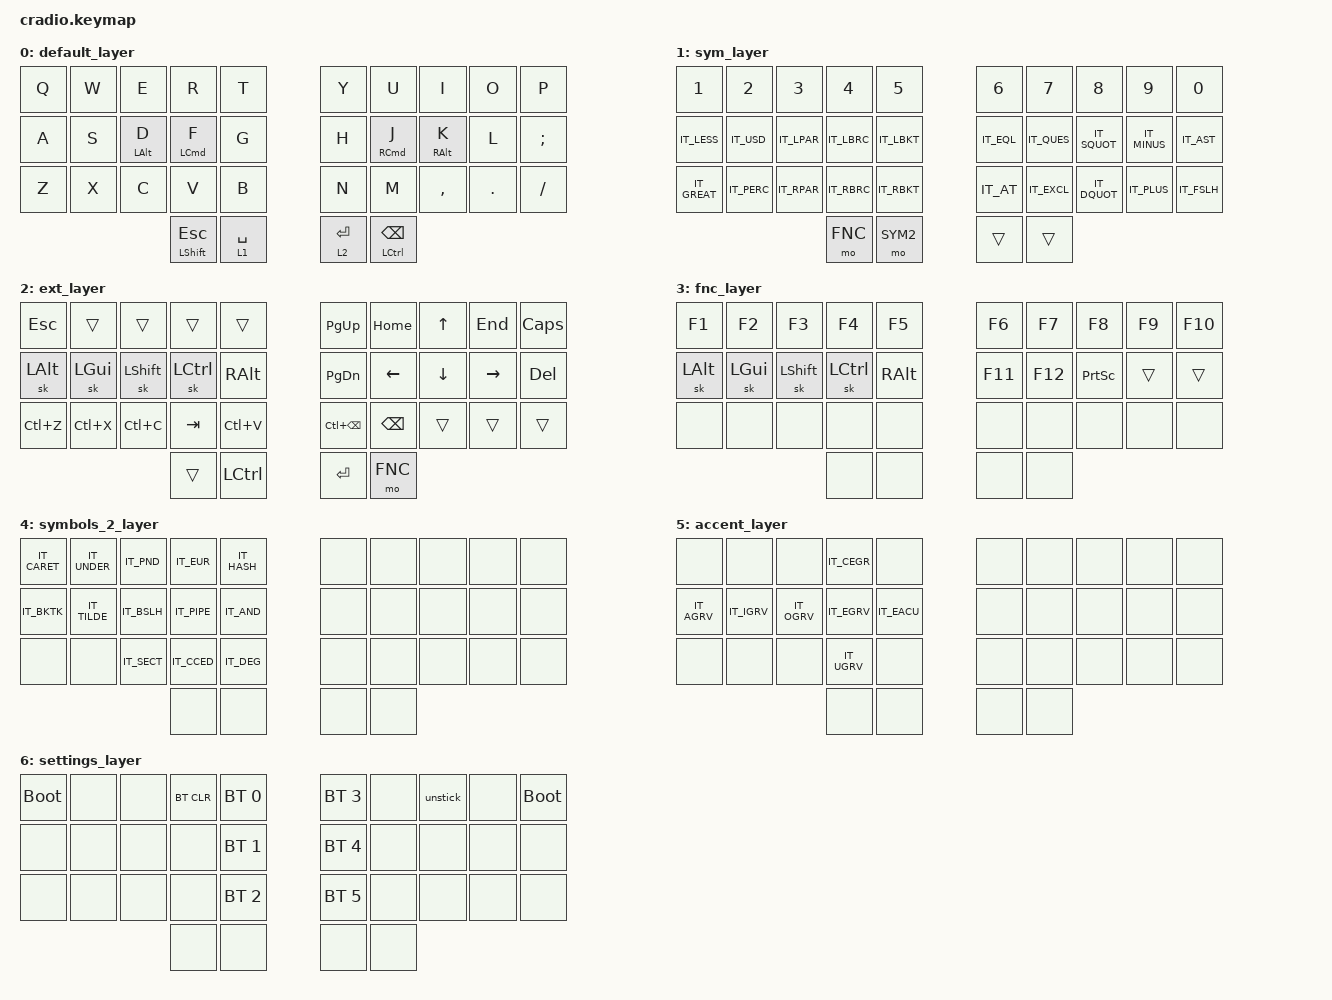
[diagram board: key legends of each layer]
/*
 * Copyright (c) 2020 The ZMK Contributors
 *
 * SPDX-License-Identifier: MIT
 */

#include "keymap_italian.h"
#include <behaviors.dtsi>
#include <dt-bindings/zmk/bt.h>
#include <dt-bindings/zmk/keys.h>

// Layer definitions

#define BASE 0
#define SYM 1
#define EXT 2
#define FNC 3
#define SYM2 4
#define ACCENT 5
#define SETTINGS 6

// -----------------

&mt {
    //  flavor = "tap-preferred";
    // tapping_term_ms = <200>;
};

&sk { ignore-modifiers; };

/ {
    macros {
        // sometimes my device thinks a modifier is being held down
        // pressing all modifiers fixes it.

        unstick: unstick {
            label = "ZM_unstick";
            compatible = "zmk,behavior-macro";
            #binding-cells = <0>;
            bindings = <&kp LSHIFT &kp RSHIFT &kp LCTRL &kp RCTRL &kp LALT &kp RALT &kp LGUI &kp RGUI>;
        };
    };

    combos {
        compatible = "zmk,combos";

        // both right thumb keys

        combo_accent {
            timeout-ms = <300>;
            key-positions = <32 33>;
            bindings = <&mo ACCENT>;
        };

        // internal-left & external-right thumb keys

        combo_sym2 {
            timeout-ms = <200>;
            key-positions = <31 33>;
            bindings = <&mo SYM2>;
        };

        // both left thumb keys

        combo_settings {
            timeout-ms = <300>;
            key-positions = <30 31>;
            bindings = <&mo SETTINGS>;
        };

        Esc {
            bindings = <&kp ESC>;
            key-positions = <0 1>;
        };
    };

    keymap {
        compatible = "zmk,keymap";

        // Base alpha layer

        default_layer {
            bindings = <
&kp Q  &kp W  &kp E           &kp R               &kp T          &kp Y         &kp U                &kp I            &kp O    &kp P
&kp A  &kp S  &mt LEFT_ALT D  &mt LEFT_COMMAND F  &kp G          &kp H         &mt RIGHT_COMMAND J  &mt RIGHT_ALT K  &kp L    &kp SEMI
&kp Z  &kp X  &kp C           &kp V               &kp B          &kp N         &kp M                &kp COMMA        &kp DOT  &kp SLASH
                              &mt LEFT_SHIFT ESC  &lt 1 SPACE    &lt 2 RETURN  &mt LCTRL BACKSPACE
            >;
        };

        // Numbers and high frequency symbols

        sym_layer {
            bindings = <
&kp N1        &kp N2       &kp N3       &kp N4       &kp N5         &kp N6      &kp N7       &kp N8        &kp N9        &kp N0
&kp IT_LESS   &kp IT_USD   &kp IT_LPAR  &kp IT_LBRC  &kp IT_LBKT    &kp IT_EQL  &kp IT_QUES  &kp IT_SQUOT  &kp IT_MINUS  &kp IT_AST
&kp IT_GREAT  &kp IT_PERC  &kp IT_RPAR  &kp IT_RBRC  &kp IT_RBKT    &kp IT_AT   &kp IT_EXCL  &kp IT_DQUOT  &kp IT_PLUS   &kp IT_FSLH
                                        &mo FNC      &mo SYM2       &trans      &trans
            >;
        };

        // Main modifiers and arrow keys

        ext_layer {
            bindings = <
&kp ESC    &trans     &trans      &trans     &trans       &kp PG_UP     &kp HOME  &kp UP    &kp END    &kp CAPS
&sk LALT   &sk LGUI   &sk LSHIFT  &sk LCTRL  &kp RALT     &kp PG_DN     &kp LEFT  &kp DOWN  &kp RIGHT  &kp DEL
&kp LC(Z)  &kp LC(X)  &kp LC(C)   &kp TAB    &kp LC(V)    &kp LC(BSPC)  &kp BSPC  &trans    &trans     &trans
                                  &trans     &kp LCTRL    &kp ENTER     &mo FNC
            >;
        };

        // Function keys with modifiers

        fnc_layer {
            bindings = <
&kp F1    &kp F2    &kp F3      &kp F4     &kp F5      &kp F6   &kp F7   &kp F8           &kp F9  &kp F10
&sk LALT  &sk LGUI  &sk LSHIFT  &sk LCTRL  &kp RALT    &kp F11  &kp F12  &kp PRINTSCREEN  &trans  &trans
&none     &none     &none       &none      &none       &none    &none    &none            &none   &none
                                &none      &none       &none    &none
            >;
        };

        // Low frequency symbols.

        symbols_2_layer {
            bindings = <
&kp IT_CARET  &kp IT_UNDER  &kp IT_PND   &kp IT_EUR   &kp IT_HASH    &none  &none  &none  &none  &none
&kp IT_BKTK   &kp IT_TILDE  &kp IT_BSLH  &kp IT_PIPE  &kp IT_AND     &none  &none  &none  &none  &none
&none         &none         &kp IT_SECT  &kp IT_CCED  &kp IT_DEG     &none  &none  &none  &none  &none
                                         &none        &none          &none  &none
            >;
        };

        // Used to type regional accents.

        accent_layer {
            bindings = <
&none        &none        &none        &kp IT_CEGR  &none          &none  &none  &none  &none  &none
&kp IT_AGRV  &kp IT_IGRV  &kp IT_OGRV  &kp IT_EGRV  &kp IT_EACU    &none  &none  &none  &none  &none
&none        &none        &none        &kp IT_UGRV  &none          &none  &none  &none  &none  &none
                                       &none        &none          &none  &none
            >;
        };

        // Used to change the keyboard's settings.

        settings_layer {
            bindings = <
&bootloader  &none  &none  &bt BT_CLR  &bt BT_SEL 0    &bt BT_SEL 3  &none  &unstick  &none  &bootloader
&none        &none  &none  &none       &bt BT_SEL 1    &bt BT_SEL 4  &none  &none     &none  &none
&none        &none  &none  &none       &bt BT_SEL 2    &bt BT_SEL 5  &none  &none     &none  &none
                           &none       &none           &none         &none
            >;
        };
    };
};
